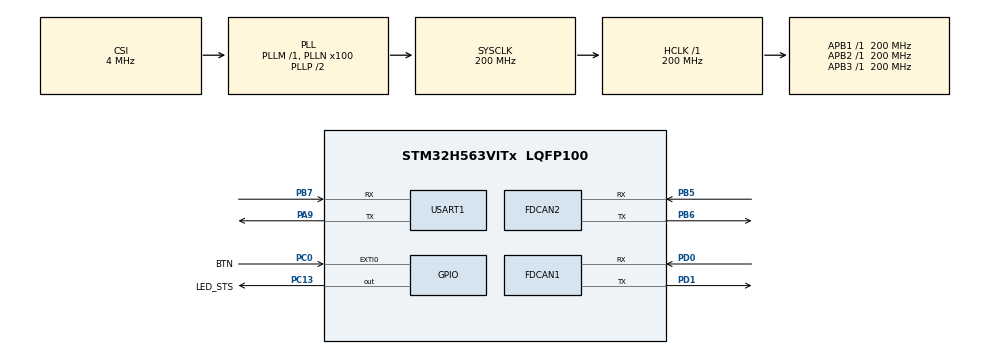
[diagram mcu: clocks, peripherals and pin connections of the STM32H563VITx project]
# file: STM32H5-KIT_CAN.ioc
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BOOTPATH.BootPathName=LEGACY
BOOTPATH.UserSelectedBootPath=LEGACY
CORTEX_M33_NS.Number-Cortex_Memory_Protection_Unit_Region0_OTP_RO_AREAS_Settings=MPU_REGION_NUMBER0
CORTEX_M33_NS.default_mode_Activation=1
CORTEX_M33_NS.userName=CORTEX_M33
FDCAN1.AutoRetransmission=DISABLE
FDCAN1.CalculateBaudRateNominal=250000
FDCAN1.CalculateTimeBitNominal=4000
FDCAN1.CalculateTimeQuantumNominal=250.0
FDCAN1.ClockDivider=FDCAN_CLOCK_DIV1
FDCAN1.DataPrescaler=20
FDCAN1.DataTimeSeg1=13
FDCAN1.DataTimeSeg2=2
FDCAN1.NominalPrescaler=20
FDCAN1.NominalSyncJumpWidth=1
FDCAN1.NominalTimeSeg1=13
FDCAN1.NominalTimeSeg2=2
FDCAN2.CalculateBaudRateNominal=250000
FDCAN2.CalculateTimeBitNominal=4000
FDCAN2.CalculateTimeQuantumNominal=250.0
FDCAN2.DataPrescaler=20
FDCAN2.DataTimeSeg1=13
FDCAN2.DataTimeSeg2=2
FDCAN2.NominalPrescaler=20
FDCAN2.NominalSyncJumpWidth=1
FDCAN2.NominalTimeSeg1=13
FDCAN2.NominalTimeSeg2=2
Mcu.Family=STM32H5
Mcu.Name=STM32H563VITx
Mcu.Package=LQFP100
NVIC.EXTI0_IRQn=true\:0\:0\:false\:false\:true\:false\:true\:true\:true
NVIC.FDCAN2_IT0_IRQn=true\:0\:0\:false\:false\:true\:false\:true\:true\:true
NVIC.FDCAN2_IT1_IRQn=true\:0\:0\:false\:false\:true\:false\:true\:true\:true
NVIC.PriorityGroup=NVIC_PRIORITYGROUP_4
NVIC.TIM8_UP_IRQn=true\:15\:0\:false\:false\:true\:false\:false\:true\:true
NVIC.TimeBase=TIM8_UP_IRQn
NVIC.TimeBaseIP=TIM8
PA13(JTMS/SWDIO).Mode=Serial_Wire
PA13(JTMS/SWDIO).Signal=DEBUG_JTMS-SWDIO
PA14(JTCK/SWCLK).Mode=Serial_Wire
PA14(JTCK/SWCLK).Signal=DEBUG_JTCK-SWCLK
PA9.Mode=Asynchronous
PA9.Signal=USART1_TX
PB5.GPIO_Speed=GPIO_SPEED_FREQ_HIGH
PB5.Mode=FDCAN_Activate
PB5.Signal=FDCAN2_RX
PB6.GPIO_Speed=GPIO_SPEED_FREQ_HIGH
PB6.Mode=FDCAN_Activate
PB6.Signal=FDCAN2_TX
PB7.Mode=Asynchronous
PB7.Signal=USART1_RX
PC0.GPIO_Label=BTN
PC0.GPIO_ModeDefaultEXTI=GPIO_MODE_IT_FALLING
PC0.GPIO_PuPd=GPIO_PULLUP
PC0.Signal=GPXTI0
PC13.GPIO_Label=LED_STS
PC13.PinState=GPIO_PIN_SET
PC13.Signal=GPIO_Output
PD0.GPIO_Speed=GPIO_SPEED_FREQ_HIGH
PD0.Mode=FDCAN_Activate
PD0.Signal=FDCAN1_RX
PD1.GPIO_Speed=GPIO_SPEED_FREQ_HIGH
PD1.Mode=FDCAN_Activate
PD1.Signal=FDCAN1_TX
PH0-OSC_IN(PH0).Mode=HSE-External-Oscillator
PH0-OSC_IN(PH0).Signal=RCC_OSC_IN
PH1-OSC_OUT(PH1).Mode=HSE-External-Oscillator
PH1-OSC_OUT(PH1).Signal=RCC_OSC_OUT
ProjectManager.HeapSize=0x200
ProjectManager.StackSize=0x400
ProjectManager.TargetToolchain=STM32CubeIDE
RCC.ADCFreq_Value=200000000
RCC.AHBFreq_Value=200000000
RCC.APB1Freq_Value=200000000
RCC.APB1TimFreq_Value=200000000
RCC.APB2Freq_Value=200000000
RCC.APB2TimFreq_Value=200000000
RCC.APB3Freq_Value=200000000
RCC.CSI_VALUE=4000000
RCC.CortexFreq_Value=200000000
RCC.EPOD_VALUE=4000000
RCC.FDCANClockSelection=RCC_FDCANCLKSOURCE_PLL2Q
RCC.HCLKFreq_Value=200000000
RCC.HSE_VALUE=25000000
RCC.HSI48_VALUE=48000000
RCC.HSI_VALUE=64000000
RCC.LSE_VALUE=32768
RCC.LSIRC_VALUE=32000
RCC.PLL2FRACN=0
RCC.PLL2M=5
RCC.PLL2N=32
RCC.PLL2Source=RCC_PLL2_SOURCE_HSE
RCC.PLL3FRACN=0
RCC.PLLFRACN=0
RCC.PLLN=100
RCC.SYSCLKFreq_VALUE=200000000
RCC.SYSCLKSource=RCC_SYSCLKSOURCE_PLLCLK
RCC.USBFreq_Value=48000000
RCC.VCOOutputFreq_Value=400000000
THREADX.TX_APP_CREATION=1
THREADX.TX_APP_GENERATE_INIT_CODE=true
THREADX.TX_APP_MEM_POOL_SIZE=1024*10
THREADX.TX_APP_SEM_CREATION=0
THREADX.TX_SEMAPHORE_NAME=tx cantx semaphore
USART1.VirtualMode-Asynchronous=VM_ASYNC
VP_BOOTPATH_VS_BOOTPATH.Mode=BP_Activate
VP_CORTEX_M33_NS_VS_Hclk.Mode=Hclk_Mode
VP_ICACHE_VS_ICACHE.Mode=DirectMappedCache
VP_MEMORYMAP_VS_MEMORYMAP.Mode=CurAppReg
VP_PWR_VS_LPOM.Mode=PowerOptimisation
VP_PWR_VS_SECSignals.Mode=Security/Privilege
VP_SYS_VS_tim8.Mode=TIM8
VP_THREADX_VS_RTOSJjThreadXJjCoreJjDefault.Mode=Core_Default
board=custom

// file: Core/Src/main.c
/* USER CODE BEGIN Header */
/**
  ******************************************************************************
  * @file           : main.c
  * @brief          : Main program body
  ******************************************************************************
  * @attention
  *
  * Copyright (c) 2026 STMicroelectronics.
  * All rights reserved.
  *
  * This software is licensed under terms that can be found in the LICENSE file
  * in the root directory of this software component.
  * If no LICENSE file comes with this software, it is provided AS-IS.
  *
  ******************************************************************************
  */
/* USER CODE END Header */
#include "app_threadx.h"
#include "main.h"

/* USER CODE BEGIN PTD */
#if defined(__ICCARM__)
/* New definition from EWARM V9, compatible with EWARM8 */
int iar_fputc(int ch);
#define PUTCHAR_PROTOTYPE int iar_fputc(int ch)
#elif defined ( __CC_ARM ) || defined(__ARMCC_VERSION)
/* ARM Compiler 5/6*/
#define PUTCHAR_PROTOTYPE int fputc(int ch, FILE *f)
#elif defined(__GNUC__)
#define PUTCHAR_PROTOTYPE int __io_putchar(int ch)
#endif /* __ICCARM__ */
/* USER CODE END PTD */

FDCAN_HandleTypeDef hfdcan1;
FDCAN_HandleTypeDef hfdcan2;

UART_HandleTypeDef huart1;

void SystemClock_Config(void);
void PeriphCommonClock_Config(void);
static void MPU_Config(void);
static void MX_GPIO_Init(void);
static void MX_ICACHE_Init(void);
static void MX_FDCAN1_Init(void);
static void MX_FDCAN2_Init(void);
static void MX_USART1_UART_Init(void);

/* USER CODE BEGIN 0 */
/**
  * @brief  Retargets the C library __write function to the IAR function iar_fputc.
  * @param  file: file descriptor.
  * @param  ptr: pointer to the buffer where the data is stored.
  * @param  len: length of the data to write in bytes.
  * @retval length of the written data in bytes.
  */
#if defined(__ICCARM__)
size_t __write(int file, unsigned char const *ptr, size_t len)
{
  size_t idx;
  unsigned char const *pdata = ptr;

  for (idx = 0; idx < len; idx++)
  {
    iar_fputc((int)*pdata);
    pdata++;
  }
  return len;
}
#endif /* __ICCARM__ */

/**
  * @brief  Retargets the C library printf function to the USART.
  * @param  None
  * @retval None
  */

PUTCHAR_PROTOTYPE
{
  /* Place your implementation of putchar here */
  /* e.g. write a character to the USART3 and Loop until the end of transmission */
  HAL_UART_Transmit(&huart1, (uint8_t *)&ch, 1, 0xFFFF);
  return ch;
}
/* USER CODE END 0 */

int main(void)
{

  /* MCU Configuration--------------------------------------------------------*/

  /* MPU Configuration--------------------------------------------------------*/
  MPU_Config();

  /* Reset of all peripherals, Initializes the Flash interface and the Systick. */
  HAL_Init();

  /* Configure the system clock */
  SystemClock_Config();

  /* Configure the peripherals common clocks */
  PeriphCommonClock_Config();

  /* Initialize all configured peripherals */
  MX_GPIO_Init();
  MX_ICACHE_Init();
  MX_FDCAN1_Init();
  MX_FDCAN2_Init();
  MX_USART1_UART_Init();

  MX_ThreadX_Init();

  /* We should never get here as control is now taken by the scheduler */

  /* Infinite loop */
  while (1)
  {

  }
}

void SystemClock_Config(void)
{
  RCC_OscInitTypeDef RCC_OscInitStruct = {0};
  RCC_ClkInitTypeDef RCC_ClkInitStruct = {0};

  /** Configure the main internal regulator output voltage
  */
  __HAL_PWR_VOLTAGESCALING_CONFIG(PWR_REGULATOR_VOLTAGE_SCALE1);

  while(!__HAL_PWR_GET_FLAG(PWR_FLAG_VOSRDY)) {}

  /** Initializes the RCC Oscillators according to the specified parameters
  * in the RCC_OscInitTypeDef structure.
  */
  RCC_OscInitStruct.OscillatorType = RCC_OSCILLATORTYPE_HSE|RCC_OSCILLATORTYPE_CSI;
  RCC_OscInitStruct.HSEState = RCC_HSE_ON;
  RCC_OscInitStruct.CSIState = RCC_CSI_ON;
  RCC_OscInitStruct.CSICalibrationValue = RCC_CSICALIBRATION_DEFAULT;
  RCC_OscInitStruct.PLL.PLLState = RCC_PLL_ON;
  RCC_OscInitStruct.PLL.PLLSource = RCC_PLL1_SOURCE_CSI;
  RCC_OscInitStruct.PLL.PLLM = 1;
  RCC_OscInitStruct.PLL.PLLN = 100;
  RCC_OscInitStruct.PLL.PLLP = 2;
  RCC_OscInitStruct.PLL.PLLQ = 2;
  RCC_OscInitStruct.PLL.PLLR = 2;
  RCC_OscInitStruct.PLL.PLLRGE = RCC_PLL1_VCIRANGE_2;
  RCC_OscInitStruct.PLL.PLLVCOSEL = RCC_PLL1_VCORANGE_WIDE;
  RCC_OscInitStruct.PLL.PLLFRACN = 0;
  if (HAL_RCC_OscConfig(&RCC_OscInitStruct) != HAL_OK)
  {
    Error_Handler();
  }

  /** Initializes the CPU, AHB and APB buses clocks
  */
  RCC_ClkInitStruct.ClockType = RCC_CLOCKTYPE_HCLK|RCC_CLOCKTYPE_SYSCLK
                              |RCC_CLOCKTYPE_PCLK1|RCC_CLOCKTYPE_PCLK2
                              |RCC_CLOCKTYPE_PCLK3;
  RCC_ClkInitStruct.SYSCLKSource = RCC_SYSCLKSOURCE_PLLCLK;
  RCC_ClkInitStruct.AHBCLKDivider = RCC_SYSCLK_DIV1;
  RCC_ClkInitStruct.APB1CLKDivider = RCC_HCLK_DIV1;
  RCC_ClkInitStruct.APB2CLKDivider = RCC_HCLK_DIV1;
  RCC_ClkInitStruct.APB3CLKDivider = RCC_HCLK_DIV1;

  if (HAL_RCC_ClockConfig(&RCC_ClkInitStruct, FLASH_LATENCY_5) != HAL_OK)
  {
    Error_Handler();
  }

  /** Configure the programming delay
  */
  __HAL_FLASH_SET_PROGRAM_DELAY(FLASH_PROGRAMMING_DELAY_2);
}

void PeriphCommonClock_Config(void)
{
  RCC_PeriphCLKInitTypeDef PeriphClkInitStruct = {0};

  /** Initializes the peripherals clock
  */
  PeriphClkInitStruct.PeriphClockSelection = RCC_PERIPHCLK_FDCAN;
  PeriphClkInitStruct.PLL2.PLL2Source = RCC_PLL2_SOURCE_HSE;
  PeriphClkInitStruct.PLL2.PLL2M = 5;
  PeriphClkInitStruct.PLL2.PLL2N = 32;
  PeriphClkInitStruct.PLL2.PLL2P = 2;
  PeriphClkInitStruct.PLL2.PLL2Q = 2;
  PeriphClkInitStruct.PLL2.PLL2R = 2;
  PeriphClkInitStruct.PLL2.PLL2RGE = RCC_PLL2_VCIRANGE_2;
  PeriphClkInitStruct.PLL2.PLL2VCOSEL = RCC_PLL2_VCORANGE_WIDE;
  PeriphClkInitStruct.PLL2.PLL2FRACN = 0;
  PeriphClkInitStruct.PLL2.PLL2ClockOut = RCC_PLL2_DIVQ;
  PeriphClkInitStruct.FdcanClockSelection = RCC_FDCANCLKSOURCE_PLL2Q;
  if (HAL_RCCEx_PeriphCLKConfig(&PeriphClkInitStruct) != HAL_OK)
  {
    Error_Handler();
  }
}

static void MX_FDCAN1_Init(void)
{

  hfdcan1.Instance = FDCAN1;
  hfdcan1.Init.ClockDivider = FDCAN_CLOCK_DIV1;
  hfdcan1.Init.FrameFormat = FDCAN_FRAME_CLASSIC;
  hfdcan1.Init.Mode = FDCAN_MODE_NORMAL;
  hfdcan1.Init.AutoRetransmission = DISABLE;
  hfdcan1.Init.TransmitPause = DISABLE;
  hfdcan1.Init.ProtocolException = DISABLE;
  hfdcan1.Init.NominalPrescaler = 20;
  hfdcan1.Init.NominalSyncJumpWidth = 1;
  hfdcan1.Init.NominalTimeSeg1 = 13;
  hfdcan1.Init.NominalTimeSeg2 = 2;
  hfdcan1.Init.DataPrescaler = 20;
  hfdcan1.Init.DataSyncJumpWidth = 1;
  hfdcan1.Init.DataTimeSeg1 = 13;
  hfdcan1.Init.DataTimeSeg2 = 2;
  hfdcan1.Init.StdFiltersNbr = 0;
  hfdcan1.Init.ExtFiltersNbr = 0;
  hfdcan1.Init.TxFifoQueueMode = FDCAN_TX_FIFO_OPERATION;
  if (HAL_FDCAN_Init(&hfdcan1) != HAL_OK)
  {
    Error_Handler();
  }
  /* USER CODE BEGIN FDCAN1_Init 2 */
  /**
    * Configure and enable Tx Delay Compensation, required for BRS mode.
    * TdcOffset default recommended value: DataTimeSeg1 * DataPrescaler
    * TdcFilter default recommended value: 0
    */
  if (HAL_FDCAN_ConfigTxDelayCompensation(&hfdcan1,
                                          (hfdcan1.Init.DataPrescaler * hfdcan1.Init.DataTimeSeg1), 0U) != HAL_OK)
  {
    Error_Handler();
  }

  if (HAL_FDCAN_EnableTxDelayCompensation(&hfdcan1) != HAL_OK)
  {
    Error_Handler();
  }

  /* Start FDCAN controller */
  if (HAL_FDCAN_Start(&hfdcan1) != HAL_OK)
  {
    Error_Handler();
  }
  /* USER CODE END FDCAN1_Init 2 */

}

static void MX_FDCAN2_Init(void)
{

  hfdcan2.Instance = FDCAN2;
  hfdcan2.Init.ClockDivider = FDCAN_CLOCK_DIV1;
  hfdcan2.Init.FrameFormat = FDCAN_FRAME_CLASSIC;
  hfdcan2.Init.Mode = FDCAN_MODE_NORMAL;
  hfdcan2.Init.AutoRetransmission = DISABLE;
  hfdcan2.Init.TransmitPause = DISABLE;
  hfdcan2.Init.ProtocolException = DISABLE;
  hfdcan2.Init.NominalPrescaler = 20;
  hfdcan2.Init.NominalSyncJumpWidth = 1;
  hfdcan2.Init.NominalTimeSeg1 = 13;
  hfdcan2.Init.NominalTimeSeg2 = 2;
  hfdcan2.Init.DataPrescaler = 20;
  hfdcan2.Init.DataSyncJumpWidth = 1;
  hfdcan2.Init.DataTimeSeg1 = 13;
  hfdcan2.Init.DataTimeSeg2 = 2;
  hfdcan2.Init.StdFiltersNbr = 0;
  hfdcan2.Init.ExtFiltersNbr = 0;
  hfdcan2.Init.TxFifoQueueMode = FDCAN_TX_FIFO_OPERATION;
  if (HAL_FDCAN_Init(&hfdcan2) != HAL_OK)
  {
    Error_Handler();
  }
  /* USER CODE BEGIN FDCAN2_Init 2 */
  /* 1. FDCAN2 필터 설정 (모든 메시지를 수신하도록 설정) */
  FDCAN_FilterTypeDef sFilterConfig;
  sFilterConfig.IdType = FDCAN_STANDARD_ID;
  sFilterConfig.FilterIndex = 0;
  sFilterConfig.FilterType = FDCAN_FILTER_RANGE;
  sFilterConfig.FilterConfig = FDCAN_FILTER_TO_RXFIFO0; // FIFO 0로 전달
  sFilterConfig.FilterID1 = 0x000;
  sFilterConfig.FilterID2 = 0x7FF; // 모든 ID 통과

  if (HAL_FDCAN_ConfigFilter(&hfdcan2, &sFilterConfig) != HAL_OK) {
      Error_Handler();
  }

  /* 2. Global Filter 설정 (필터에 안 걸리는 놈들도 FIFO0로 던지거나 거르기) */
  if (HAL_FDCAN_ConfigGlobalFilter(&hfdcan2, FDCAN_ACCEPT_IN_RX_FIFO0, FDCAN_ACCEPT_IN_RX_FIFO0, FDCAN_REJECT_REMOTE, FDCAN_REJECT_REMOTE) != HAL_OK) {
      Error_Handler();
  }

  /* Activate Rx FIFO 0 new message notification */

  if (HAL_FDCAN_ActivateNotification(&hfdcan2, FDCAN_IT_RX_FIFO0_NEW_MESSAGE, 0U) != HAL_OK)
  {
    Error_Handler();
  }

  HAL_FDCAN_Start(&hfdcan2);

  /* USER CODE END FDCAN2_Init 2 */

}

static void MX_ICACHE_Init(void)
{

  /** Enable instruction cache in 1-way (direct mapped cache)
  */
  if (HAL_ICACHE_ConfigAssociativityMode(ICACHE_1WAY) != HAL_OK)
  {
    Error_Handler();
  }
  if (HAL_ICACHE_Enable() != HAL_OK)
  {
    Error_Handler();
  }

}

static void MX_USART1_UART_Init(void)
{

  huart1.Instance = USART1;
  huart1.Init.BaudRate = 115200;
  huart1.Init.WordLength = UART_WORDLENGTH_8B;
  huart1.Init.StopBits = UART_STOPBITS_1;
  huart1.Init.Parity = UART_PARITY_NONE;
  huart1.Init.Mode = UART_MODE_TX_RX;
  huart1.Init.HwFlowCtl = UART_HWCONTROL_NONE;
  huart1.Init.OverSampling = UART_OVERSAMPLING_16;
  huart1.Init.OneBitSampling = UART_ONE_BIT_SAMPLE_DISABLE;
  huart1.Init.ClockPrescaler = UART_PRESCALER_DIV1;
  huart1.AdvancedInit.AdvFeatureInit = UART_ADVFEATURE_NO_INIT;
  if (HAL_UART_Init(&huart1) != HAL_OK)
  {
    Error_Handler();
  }
  if (HAL_UARTEx_SetTxFifoThreshold(&huart1, UART_TXFIFO_THRESHOLD_1_8) != HAL_OK)
  {
    Error_Handler();
  }
  if (HAL_UARTEx_SetRxFifoThreshold(&huart1, UART_RXFIFO_THRESHOLD_1_8) != HAL_OK)
  {
    Error_Handler();
  }
  if (HAL_UARTEx_DisableFifoMode(&huart1) != HAL_OK)
  {
    Error_Handler();
  }

}

static void MX_GPIO_Init(void)
{
  GPIO_InitTypeDef GPIO_InitStruct = {0};

  /* GPIO Ports Clock Enable */
  __HAL_RCC_GPIOC_CLK_ENABLE();
  __HAL_RCC_GPIOH_CLK_ENABLE();
  __HAL_RCC_GPIOA_CLK_ENABLE();
  __HAL_RCC_GPIOD_CLK_ENABLE();
  __HAL_RCC_GPIOB_CLK_ENABLE();

  /*Configure GPIO pin Output Level */
  HAL_GPIO_WritePin(LED_STS_GPIO_Port, LED_STS_Pin, GPIO_PIN_SET);

  /*Configure GPIO pin : LED_STS_Pin */
  GPIO_InitStruct.Pin = LED_STS_Pin;
  GPIO_InitStruct.Mode = GPIO_MODE_OUTPUT_PP;
  GPIO_InitStruct.Pull = GPIO_NOPULL;
  GPIO_InitStruct.Speed = GPIO_SPEED_FREQ_LOW;
  HAL_GPIO_Init(LED_STS_GPIO_Port, &GPIO_InitStruct);

  /*Configure GPIO pin : BTN_Pin */
  GPIO_InitStruct.Pin = BTN_Pin;
  GPIO_InitStruct.Mode = GPIO_MODE_IT_FALLING;
  GPIO_InitStruct.Pull = GPIO_PULLUP;
  HAL_GPIO_Init(BTN_GPIO_Port, &GPIO_InitStruct);

  /* EXTI interrupt init*/
  HAL_NVIC_SetPriority(EXTI0_IRQn, 0, 0);
  HAL_NVIC_EnableIRQ(EXTI0_IRQn);

}

 /* MPU Configuration */

void MPU_Config(void)
{
  MPU_Region_InitTypeDef MPU_InitStruct = {0};
  MPU_Attributes_InitTypeDef MPU_AttributesInit = {0};

  /* Disables the MPU */
  HAL_MPU_Disable();

  /** Initializes and configures the Region 0 and the memory to be protected
  */
  MPU_InitStruct.Enable = MPU_REGION_ENABLE;
  MPU_InitStruct.Number = MPU_REGION_NUMBER0;
  MPU_InitStruct.BaseAddress = 0x08FFF000;
  MPU_InitStruct.LimitAddress = 0x08FFFFFF;
  MPU_InitStruct.AttributesIndex = MPU_ATTRIBUTES_NUMBER0;
  MPU_InitStruct.AccessPermission = MPU_REGION_ALL_RO;
  MPU_InitStruct.DisableExec = MPU_INSTRUCTION_ACCESS_DISABLE;
  MPU_InitStruct.IsShareable = MPU_ACCESS_NOT_SHAREABLE;

  HAL_MPU_ConfigRegion(&MPU_InitStruct);

  /** Initializes and configures the Attribute 0 and the memory to be protected
  */
  MPU_AttributesInit.Number = MPU_ATTRIBUTES_NUMBER0;
  MPU_AttributesInit.Attributes = INNER_OUTER(MPU_NOT_CACHEABLE);

  HAL_MPU_ConfigMemoryAttributes(&MPU_AttributesInit);
  /* Enables the MPU */
  HAL_MPU_Enable(MPU_PRIVILEGED_DEFAULT);

}

void HAL_TIM_PeriodElapsedCallback(TIM_HandleTypeDef *htim)
{
  if (htim->Instance == TIM8)
  {
    HAL_IncTick();
  }
}

void Error_Handler(void)
{
  __disable_irq();
  while (1)
  {
  }
}
